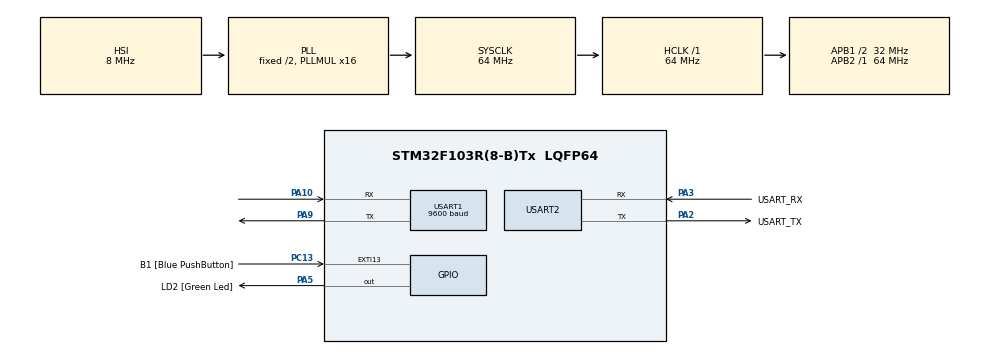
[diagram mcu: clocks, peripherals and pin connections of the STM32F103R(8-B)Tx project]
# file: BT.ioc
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Mcu.Family=STM32F1
Mcu.Name=STM32F103R(8-B)Tx
Mcu.Package=LQFP64
NVIC.EXTI15_10_IRQn=true\:0\:0\:false\:false\:true\:true\:true\:true
NVIC.PriorityGroup=NVIC_PRIORITYGROUP_4
PA10.Mode=Asynchronous
PA10.Signal=USART1_RX
PA13.GPIO_Label=TMS
PA13.Mode=Serial_Wire
PA13.Signal=SYS_JTMS-SWDIO
PA14.GPIO_Label=TCK
PA14.Mode=Serial_Wire
PA14.Signal=SYS_JTCK-SWCLK
PA2.GPIO_Label=USART_TX
PA2.GPIO_Mode=GPIO_MODE_AF_PP
PA2.GPIO_PuPd=GPIO_NOPULL
PA2.GPIO_Speed=GPIO_SPEED_FREQ_LOW
PA2.Mode=Asynchronous
PA2.Signal=USART2_TX
PA3.GPIO_Label=USART_RX
PA3.GPIO_Mode=GPIO_MODE_AF_PP
PA3.GPIO_PuPd=GPIO_NOPULL
PA3.GPIO_Speed=GPIO_SPEED_FREQ_LOW
PA3.Mode=Asynchronous
PA3.Signal=USART2_RX
PA5.GPIO_Label=LD2 [Green Led]
PA5.GPIO_ModeDefaultOutputPP=GPIO_MODE_OUTPUT_PP
PA5.GPIO_PuPd=GPIO_NOPULL
PA5.GPIO_Speed=GPIO_SPEED_FREQ_LOW
PA5.Signal=GPIO_Output
PA9.Mode=Asynchronous
PA9.Signal=USART1_TX
PB3.GPIO_Label=SWO
PB3.Signal=SYS_JTDO-TRACESWO
PC13-TAMPER-RTC.GPIO_Label=B1 [Blue PushButton]
PC13-TAMPER-RTC.GPIO_PuPd=GPIO_NOPULL
PC13-TAMPER-RTC.Signal=GPXTI13
PC14-OSC32_IN.Mode=LSE-External-Oscillator
PC14-OSC32_IN.Signal=RCC_OSC32_IN
PC15-OSC32_OUT.Mode=LSE-External-Oscillator
PC15-OSC32_OUT.Signal=RCC_OSC32_OUT
PD0-OSC_IN.Mode=HSE-External-Clock-Source
PD0-OSC_IN.Signal=RCC_OSC_IN
PD1-OSC_OUT.Mode=HSE-External-Clock-Source
PD1-OSC_OUT.Signal=RCC_OSC_OUT
ProjectManager.HeapSize=0x200
ProjectManager.StackSize=0x400
ProjectManager.TargetToolchain=STM32CubeIDE
RCC.AHBFreq_Value=64000000
RCC.APB1CLKDivider=RCC_HCLK_DIV2
RCC.APB1Freq_Value=32000000
RCC.APB1TimFreq_Value=64000000
RCC.APB2Freq_Value=64000000
RCC.APB2TimFreq_Value=64000000
RCC.HCLKFreq_Value=64000000
RCC.PLLMUL=RCC_PLL_MUL16
RCC.RTCClockSelection=RCC_RTCCLKSOURCE_LSE
RCC.SYSCLKFreq_VALUE=64000000
RCC.SYSCLKSource=RCC_SYSCLKSOURCE_PLLCLK
RCC.USBFreq_Value=64000000
USART1.BaudRate=9600
USART1.VirtualMode=VM_ASYNC
USART2.VirtualMode=VM_ASYNC
board=NUCLEO-F103RB

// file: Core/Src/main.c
/* USER CODE BEGIN Header */
/**
 ******************************************************************************
 * @file           : main.c
 * @brief          : Main program body
 ******************************************************************************
 * @attention
 *
 * Copyright (c) 2024 STMicroelectronics.
 * All rights reserved.
 *
 * This software is licensed under terms that can be found in the LICENSE file
 * in the root directory of this software component.
 * If no LICENSE file comes with this software, it is provided AS-IS.
 *
 ******************************************************************************
 */
/* USER CODE END Header */
#include "main.h"

/* USER CODE BEGIN PD */
#define COMMAND_LED_ON  'A' // LD2를 켜는 명령어
#define COMMAND_LED_OFF 'B' // LD2를 끄는 명령어
/* USER CODE END PD */

UART_HandleTypeDef huart1;
UART_HandleTypeDef huart2;

/* USER CODE BEGIN PV */
#define TxMessageSize (SIZE(TxMessage)-1) 		// 초기 메시지 사이즈
#define RxMessageSize 0xFF
#define OnSize (SIZE(On)-1) 						// On 메시지 사이즈
#define OffSize (SIZE(Off)-1) 					// Off 메시지 사이즈
#define SIZE(m) (sizeof(m) / sizeof(*(m)))			// 데이터 사이즈
/* USER CODE END PV */

void SystemClock_Config(void);
static void MX_GPIO_Init(void);
static void MX_USART1_UART_Init(void);
static void MX_USART2_UART_Init(void);

/* USER CODE BEGIN 0 */
uint8_t TxMessage[] = "Bluetooth LED Control Example\r\n"; // 초기 메시지 정의, \r 이거 때문에 문자열 깨짐
uint8_t RxMessage[RxMessageSize];
uint8_t On[] = "LED ON\r\n";
uint8_t Off[] = "LED OFF\r\n";
/* USER CODE END 0 */

int main(void) {

	/* MCU Configuration--------------------------------------------------------*/

	/* Reset of all peripherals, Initializes the Flash interface and the Systick. */
	HAL_Init();

	/* Configure the system clock */
	SystemClock_Config();

	/* Initialize all configured peripherals */
	MX_GPIO_Init();
	MX_USART1_UART_Init();
	MX_USART2_UART_Init();
	/* USER CODE BEGIN 2 */
	HAL_UART_Transmit(&huart1, (uint8_t*)TxMessage, TxMessageSize, 0xffff); // 초기 메시지 송신
	/* USER CODE END 2 */

	/* Infinite loop */
	while (1)
	{

		/* USER CODE BEGIN 3 */
		uint8_t command; // 수신된 명령어 저장 변수

		if (HAL_UART_Receive(&huart1, &command, 1, 5000) == HAL_OK) // 블루투스로부터 명령어 수신
		{
			if (command == COMMAND_LED_ON)
			{
				HAL_GPIO_WritePin(LD2_GPIO_Port, LD2_Pin, GPIO_PIN_SET); // LD2를 켬
				HAL_UART_Transmit(&huart1, (uint8_t*)On, OnSize, 0xffff); // 확인 메시지 송신
			}
			else if (command == COMMAND_LED_OFF)
			{
				HAL_GPIO_WritePin(LD2_GPIO_Port, LD2_Pin, GPIO_PIN_RESET); // LD2를 끔
				HAL_UART_Transmit(&huart1, (uint8_t*)Off, OffSize, 0xffff); // 확인 메시지 송신
			}

		}
	}
	/* USER CODE END 3 */
}

void SystemClock_Config(void) {
	RCC_OscInitTypeDef RCC_OscInitStruct = { 0 };
	RCC_ClkInitTypeDef RCC_ClkInitStruct = { 0 };

	/** Initializes the RCC Oscillators according to the specified parameters
	 * in the RCC_OscInitTypeDef structure.
	 */
	RCC_OscInitStruct.OscillatorType = RCC_OSCILLATORTYPE_HSI;
	RCC_OscInitStruct.HSIState = RCC_HSI_ON;
	RCC_OscInitStruct.HSICalibrationValue = RCC_HSICALIBRATION_DEFAULT;
	RCC_OscInitStruct.PLL.PLLState = RCC_PLL_ON;
	RCC_OscInitStruct.PLL.PLLSource = RCC_PLLSOURCE_HSI_DIV2;
	RCC_OscInitStruct.PLL.PLLMUL = RCC_PLL_MUL16;
	if (HAL_RCC_OscConfig(&RCC_OscInitStruct) != HAL_OK) {
		Error_Handler();
	}

	/** Initializes the CPU, AHB and APB buses clocks
	 */
	RCC_ClkInitStruct.ClockType = RCC_CLOCKTYPE_HCLK | RCC_CLOCKTYPE_SYSCLK
			| RCC_CLOCKTYPE_PCLK1 | RCC_CLOCKTYPE_PCLK2;
	RCC_ClkInitStruct.SYSCLKSource = RCC_SYSCLKSOURCE_PLLCLK;
	RCC_ClkInitStruct.AHBCLKDivider = RCC_SYSCLK_DIV1;
	RCC_ClkInitStruct.APB1CLKDivider = RCC_HCLK_DIV2;
	RCC_ClkInitStruct.APB2CLKDivider = RCC_HCLK_DIV1;

	if (HAL_RCC_ClockConfig(&RCC_ClkInitStruct, FLASH_LATENCY_2) != HAL_OK) {
		Error_Handler();
	}
}

static void MX_USART1_UART_Init(void) {

	huart1.Instance = USART1;
	huart1.Init.BaudRate = 9600;
	huart1.Init.WordLength = UART_WORDLENGTH_8B;
	huart1.Init.StopBits = UART_STOPBITS_1;
	huart1.Init.Parity = UART_PARITY_NONE;
	huart1.Init.Mode = UART_MODE_TX_RX;
	huart1.Init.HwFlowCtl = UART_HWCONTROL_NONE;
	huart1.Init.OverSampling = UART_OVERSAMPLING_16;
	if (HAL_UART_Init(&huart1) != HAL_OK) {
		Error_Handler();
	}

}

static void MX_USART2_UART_Init(void) {

	huart2.Instance = USART2;
	huart2.Init.BaudRate = 9600;
	huart2.Init.WordLength = UART_WORDLENGTH_8B;
	huart2.Init.StopBits = UART_STOPBITS_1;
	huart2.Init.Parity = UART_PARITY_NONE;
	huart2.Init.Mode = UART_MODE_TX_RX;
	huart2.Init.HwFlowCtl = UART_HWCONTROL_NONE;
	huart2.Init.OverSampling = UART_OVERSAMPLING_16;
	if (HAL_UART_Init(&huart2) != HAL_OK) {
		Error_Handler();
	}

}

static void MX_GPIO_Init(void) {
	GPIO_InitTypeDef GPIO_InitStruct = { 0 };

	/* GPIO Ports Clock Enable */
	__HAL_RCC_GPIOC_CLK_ENABLE();
	__HAL_RCC_GPIOD_CLK_ENABLE();
	__HAL_RCC_GPIOA_CLK_ENABLE();
	__HAL_RCC_GPIOB_CLK_ENABLE();

	/*Configure GPIO pin Output Level */
	HAL_GPIO_WritePin(LD2_GPIO_Port, LD2_Pin, GPIO_PIN_RESET);

	/*Configure GPIO pin : B1_Pin */
	GPIO_InitStruct.Pin = B1_Pin;
	GPIO_InitStruct.Mode = GPIO_MODE_IT_RISING;
	GPIO_InitStruct.Pull = GPIO_NOPULL;
	HAL_GPIO_Init(B1_GPIO_Port, &GPIO_InitStruct);

	/*Configure GPIO pin : LD2_Pin */
	GPIO_InitStruct.Pin = LD2_Pin;
	GPIO_InitStruct.Mode = GPIO_MODE_OUTPUT_PP;
	GPIO_InitStruct.Pull = GPIO_NOPULL;
	GPIO_InitStruct.Speed = GPIO_SPEED_FREQ_LOW;
	HAL_GPIO_Init(LD2_GPIO_Port, &GPIO_InitStruct);

	/* EXTI interrupt init*/
	HAL_NVIC_SetPriority(EXTI15_10_IRQn, 0, 0);
	HAL_NVIC_EnableIRQ(EXTI15_10_IRQn);

}

void Error_Handler(void) {
	__disable_irq();
	while (1) {
	}
}
